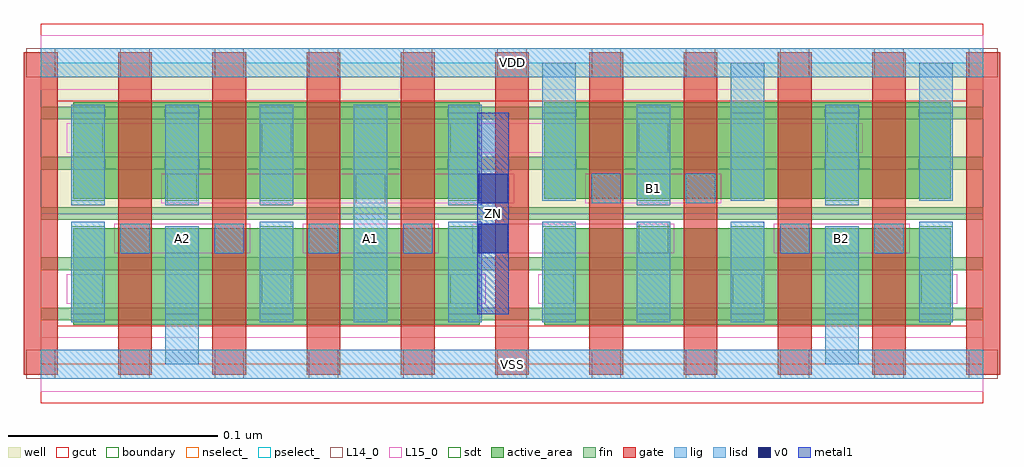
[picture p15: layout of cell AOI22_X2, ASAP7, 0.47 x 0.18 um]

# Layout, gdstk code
import gdstk
lib = gdstk.Library(unit=1e-6, precision=2.5e-10)
def R(c, l, rs):  # rectangles x0, y0, x1, y1
    for r in rs: c.add(gdstk.rectangle(r[:2], r[2:], *l))
def A(c, l, x, y, w, h, nx, ny, dx, dy):  # array of equal rectangles
    R(c, l, [(x+i*dx, y+j*dy, x+i*dx+w, y+j*dy+h) for i in range(nx) for j in range(ny)])
well = (1, 0)
fin = (2, 0)
gate = (7, 0)
gcut = (10, 0)
active_area = (11, 0)
nselect_ = (12, 0)
pselect_ = (13, 0)
L14_0 = (14, 0)
L15_0 = (15, 0)
lig = (16, 0)
lisd = (17, 0)
v0 = (18, 0)
metal1 = (19, 0)
sdt = (88, 0)
boundary = (100, 0)

aoi22_x2 = lib.new_cell('AOI22_X2')
R(aoi22_x2, well, [(0,0.072,0.45,0.144)])
A(aoi22_x2, fin, 0, 0.021, 0.45, 0.006, 1, 5, 0, 0.024)
A(aoi22_x2, gate, -0.008, -0.005, 0.016, 0.154, 11, 1, 0.045, 0)
R(aoi22_x2, gcut, [(0,-0.0185,0.45,0.0185), (-0.008,-0.005,0.008,0.149), (0.442,-0.005,0.458,0.149), (0,0.1255,0.45,0.1625)])
A(aoi22_x2, active_area, 0.0155, 0.019, 0.059, 0.046, 4, 2, 0.045, 0.06)
A(aoi22_x2, active_area, 0.2405, 0.019, 0.059, 0.046, 4, 2, 0.045, 0.06)
R(aoi22_x2, nselect_, [(0,0,0.45,0.072)])
R(aoi22_x2, pselect_, [(0,0.072,0.45,0.144)])
A(aoi22_x2, L14_0, -0.007, -0.007, 0.014, 0.014, 11, 2, 0.045, 0.144)
A(aoi22_x2, L14_0, 0.0155, 0.029, 0.014, 0.014, 3, 1, 0.09, 0)
A(aoi22_x2, L14_0, 0.2405, 0.029, 0.014, 0.014, 3, 1, 0.09, 0)
A(aoi22_x2, L14_0, 0.038, 0.053, 0.014, 0.014, 4, 1, 0.045, 0)
A(aoi22_x2, L14_0, 0.0155, 0.101, 0.014, 0.014, 5, 1, 0.09, 0)
R(aoi22_x2, L14_0, [(0.2855,0.053,0.2995,0.067), (0.353,0.053,0.367,0.067), (0.398,0.053,0.412,0.067), (0.0605,0.077,0.0745,0.091), (0.1505,0.077,0.1645,0.091), (0.263,0.077,0.277,0.091), (0.308,0.077,0.322,0.091)])
R(aoi22_x2, L15_0, [(0,-0.013,0.45,0.013), (0.0125,0.029,0.2125,0.043), (0.2375,0.029,0.4375,0.043), (0.035,0.053,0.1,0.067), (0.125,0.053,0.19,0.067), (0.206,0.053,0.3025,0.067), (0.35,0.053,0.415,0.067), (0.0575,0.077,0.226,0.091), (0.26,0.077,0.325,0.091), (0.0125,0.101,0.3925,0.115), (0,0.131,0.45,0.157)])
A(aoi22_x2, lig, 0.038, 0.053, 0.014, 0.014, 4, 1, 0.045, 0)
R(aoi22_x2, lig, [(0,-0.007,0.45,0.007), (0.353,0.053,0.367,0.067), (0.398,0.053,0.412,0.067), (0.263,0.077,0.277,0.091), (0.308,0.077,0.322,0.091), (0,0.137,0.45,0.151)])
A(aoi22_x2, lisd, 0.1945, 0.02, 0.016, 0.048, 3, 1, 0.045, 0)
A(aoi22_x2, lisd, 0.1045, 0.076, 0.016, 0.048, 3, 1, 0.09, 0)
R(aoi22_x2, lisd, [(0.0595,0,0.0755,0.066), (0.0595,0,0.0755,0.066), (0.3745,0,0.3905,0.066), (0.3745,0,0.3905,0.066), (0.0145,0.02,0.0305,0.068), (0.1045,0.02,0.1205,0.068), (0.1045,0.02,0.1205,0.068), (0.1495,0.02,0.1655,0.124), (0.1495,0.02,0.1655,0.124), (0.2845,0.02,0.3005,0.068), (0.3295,0.02,0.3455,0.068), (0.3295,0.02,0.3455,0.068), (0.4195,0.02,0.4355,0.068), (0.0145,0.076,0.0305,0.124), (0.0595,0.076,0.0755,0.124), (0.0595,0.076,0.0755,0.124), (0.1045,0.076,0.1205,0.124), (0.2845,0.076,0.3005,0.124), (0.3745,0.076,0.3905,0.124), (0.3745,0.076,0.3905,0.124), (0.2395,0.078,0.2555,0.144), (0.3295,0.078,0.3455,0.144), (0.3295,0.078,0.3455,0.144), (0.4195,0.078,0.4355,0.144)])
R(aoi22_x2, v0, [(0.209,0.053,0.223,0.067), (0.209,0.077,0.223,0.091)])
R(aoi22_x2, metal1, [(0.2085,0.024,0.2235,0.12)])
A(aoi22_x2, sdt, 0.1945, 0.024, 0.016, 0.042, 3, 2, 0.045, 0.054)
R(aoi22_x2, sdt, [(0.1495,0.02,0.1655,0.124), (0.1495,0.02,0.1655,0.124), (0.0145,0.024,0.0305,0.066), (0.0595,0.024,0.0755,0.066), (0.0595,0.024,0.0755,0.066), (0.1045,0.024,0.1205,0.066), (0.1045,0.024,0.1205,0.066), (0.2845,0.024,0.3005,0.066), (0.3295,0.024,0.3455,0.066), (0.3295,0.024,0.3455,0.066), (0.3745,0.024,0.3905,0.066), (0.3745,0.024,0.3905,0.066), (0.4195,0.024,0.4355,0.066), (0.0145,0.078,0.0305,0.12), (0.0595,0.078,0.0755,0.12), (0.0595,0.078,0.0755,0.12), (0.1045,0.078,0.1205,0.12), (0.1045,0.078,0.1205,0.12), (0.2845,0.078,0.3005,0.12), (0.3295,0.078,0.3455,0.12), (0.3295,0.078,0.3455,0.12), (0.3745,0.078,0.3905,0.12), (0.3745,0.078,0.3905,0.12), (0.4195,0.078,0.4355,0.12)])
R(aoi22_x2, boundary, [(0,0,0.45,0.144)])
aoi22_x2.add(gdstk.Label('VDD', (0.225,0.144), layer=1, texttype=251))
aoi22_x2.add(gdstk.Label('VSS', (0.225,0), layer=3, texttype=251))
aoi22_x2.add(gdstk.Label('A2', (0.0675,0.06), layer=15, texttype=251))
aoi22_x2.add(gdstk.Label('A1', (0.1575,0.06), layer=15, texttype=251))
aoi22_x2.add(gdstk.Label('B1', (0.2925,0.084), layer=15, texttype=251))
aoi22_x2.add(gdstk.Label('B2', (0.3825,0.06), layer=15, texttype=251))
aoi22_x2.add(gdstk.Label('VSS', (0.225,0), layer=15, texttype=251))
aoi22_x2.add(gdstk.Label('VDD', (0.225,0.144), layer=15, texttype=251))
aoi22_x2.add(gdstk.Label('ZN', (0.216,0.072), layer=19, texttype=251))

lib.write_gds('AOI22_X2.gds')
